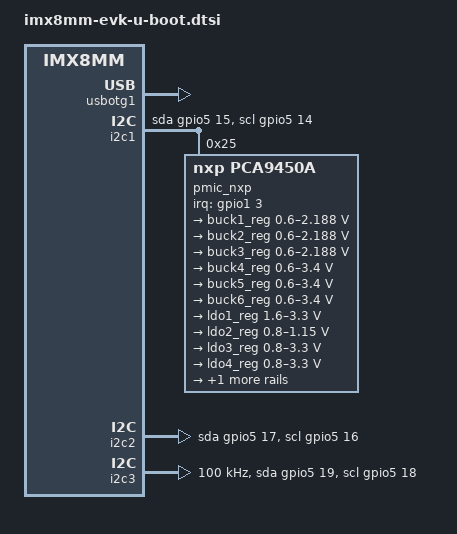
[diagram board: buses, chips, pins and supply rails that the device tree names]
// SPDX-License-Identifier: GPL-2.0+
/*
 * Copyright 2019, 2021 NXP
 */

#include "imx8mm-u-boot.dtsi"

/ {
	wdt-reboot {
		compatible = "wdt-reboot";
		wdt = <&wdog1>;
		bootph-pre-ram;
	};
};

&aips4 {
	bootph-pre-ram;
};

&reg_usdhc2_vmmc {
	u-boot,off-on-delay-us = <20000>;
	bootph-pre-ram;
};

&pinctrl_reg_usdhc2_vmmc {
	bootph-pre-ram;
};

&pinctrl_uart2 {
	bootph-pre-ram;
};

&pinctrl_usdhc2_gpio {
	bootph-pre-ram;
};

&pinctrl_usdhc2 {
	bootph-pre-ram;
};

&pinctrl_usdhc3 {
	bootph-pre-ram;
};

&gpio1 {
	bootph-pre-ram;
};

&gpio2 {
	bootph-pre-ram;
};

&gpio3 {
	bootph-pre-ram;
};

&gpio4 {
	bootph-pre-ram;
};

&gpio5 {
	bootph-pre-ram;
};

&uart2 {
	bootph-pre-ram;
};

&usbmisc1 {
	bootph-pre-ram;
};

&usbphynop1 {
	bootph-pre-ram;
};

&usbotg1 {
	bootph-pre-ram;
};

&usdhc1 {
	bootph-pre-ram;
	assigned-clocks = <&clk IMX8MM_CLK_USDHC1>;
	assigned-clock-rates = <400000000>;
	assigned-clock-parents = <&clk IMX8MM_SYS_PLL1_400M>;
};

&usdhc2 {
	bootph-pre-ram;
	sd-uhs-sdr104;
	sd-uhs-ddr50;
	assigned-clocks = <&clk IMX8MM_CLK_USDHC2>;
	assigned-clock-rates = <400000000>;
	assigned-clock-parents = <&clk IMX8MM_SYS_PLL1_400M>;
	fsl,signal-voltage-switch-extra-delay-ms = <8>;
};

&usdhc3 {
	bootph-pre-ram;
	mmc-hs400-1_8v;
	mmc-hs400-enhanced-strobe;
	assigned-clocks = <&clk IMX8MM_CLK_USDHC3>;
	assigned-clock-rates = <400000000>;
	assigned-clock-parents = <&clk IMX8MM_SYS_PLL1_400M>;
};

&i2c1 {
	pinctrl-names = "default", "gpio";
	pinctrl-1 = <&pinctrl_i2c1_gpio>;
	scl-gpios = <&gpio5 14 GPIO_ACTIVE_HIGH>;
	sda-gpios = <&gpio5 15 GPIO_ACTIVE_HIGH>;
	bootph-pre-ram;

	pmic_nxp: pca9450@25 {
		compatible = "nxp,pca9450a";
		reg = <0x25>;
		pinctrl-0 = <&pinctrl_pmic>;
		pinctrl-names = "default";
		interrupt-parent = <&gpio1>;
		interrupts = <3 IRQ_TYPE_LEVEL_LOW>;
		bootph-pre-ram;

		regulators {
			bootph-pre-ram;

			buck1_reg: BUCK1 {
				regulator-name = "BUCK1";
				regulator-min-microvolt = <600000>;
				regulator-max-microvolt = <2187500>;
				regulator-boot-on;
				regulator-always-on;
				regulator-ramp-delay = <3125>;
				nxp,dvs-run-voltage = <850000>;
				nxp,dvs-standby-voltage = <800000>;
			};

			buck2_reg: BUCK2 {
				regulator-name = "BUCK2";
				regulator-min-microvolt = <600000>;
				regulator-max-microvolt = <2187500>;
				regulator-boot-on;
				regulator-always-on;
				regulator-ramp-delay = <3125>;
			};

			buck3_reg: BUCK3 {
				regulator-name = "BUCK3";
				regulator-min-microvolt = <600000>;
				regulator-max-microvolt = <2187500>;
				regulator-boot-on;
				regulator-always-on;
			};

			buck4_reg: BUCK4 {
				regulator-name = "BUCK4";
				regulator-min-microvolt = <600000>;
				regulator-max-microvolt = <3400000>;
				regulator-boot-on;
				regulator-always-on;
			};

			buck5_reg: BUCK5 {
				regulator-name = "BUCK5";
				regulator-min-microvolt = <600000>;
				regulator-max-microvolt = <3400000>;
				regulator-boot-on;
				regulator-always-on;
			};

			buck6_reg: BUCK6 {
				regulator-name = "BUCK6";
				regulator-min-microvolt = <600000>;
				regulator-max-microvolt = <3400000>;
				regulator-boot-on;
				regulator-always-on;
			};

			ldo1_reg: LDO1 {
				regulator-name = "LDO1";
				regulator-min-microvolt = <1600000>;
				regulator-max-microvolt = <3300000>;
				regulator-boot-on;
				regulator-always-on;
			};

			ldo2_reg: LDO2 {
				regulator-name = "LDO2";
				regulator-min-microvolt = <800000>;
				regulator-max-microvolt = <1150000>;
				regulator-boot-on;
				regulator-always-on;
			};

			ldo3_reg: LDO3 {
				regulator-name = "LDO3";
				regulator-min-microvolt = <800000>;
				regulator-max-microvolt = <3300000>;
				regulator-boot-on;
				regulator-always-on;
			};

			ldo4_reg: LDO4 {
				regulator-name = "LDO4";
				regulator-min-microvolt = <800000>;
				regulator-max-microvolt = <3300000>;
				regulator-boot-on;
				regulator-always-on;
			};

			ldo5_reg: LDO5 {
				regulator-name = "LDO5";
				regulator-min-microvolt = <1800000>;
				regulator-max-microvolt = <3300000>;
			};

		};
	};
};

&i2c2 {
	pinctrl-names = "default", "gpio";
	pinctrl-1 = <&pinctrl_i2c2_gpio>;
	scl-gpios = <&gpio5 16 GPIO_ACTIVE_HIGH>;
	sda-gpios = <&gpio5 17 GPIO_ACTIVE_HIGH>;
};

&i2c3 {
	clock-frequency = <100000>;
	pinctrl-names = "default", "gpio";
	pinctrl-1 = <&pinctrl_i2c3_gpio>;
	scl-gpios = <&gpio5 18 GPIO_ACTIVE_HIGH>;
	sda-gpios = <&gpio5 19 GPIO_ACTIVE_HIGH>;
};

/delete-node/ &{/soc@0/bus@30800000/i2c@30a20000/pmic@4b};

&pinctrl_i2c1 {
	bootph-pre-ram;
};

&pinctrl_pmic {
	bootph-pre-ram;
};

&pinctrl_wdog {
	bootph-pre-ram;
};

&ethphy0 {
	reset-deassert-us = <80000>;

	vddio0: vddio-regulator {
		regulator-name = "VDDIO";
		regulator-min-microvolt = <1800000>;
		regulator-max-microvolt = <1800000>;
	};
};

&wdog1 {
	bootph-pre-ram;
};

&usbotg1 {
	status = "okay";
	extcon = <&ptn5110>;
};

&iomuxc {
	pinctrl_i2c1_gpio: i2c1-gpiogrp {
		fsl,pins = <
			MX8MM_IOMUXC_I2C1_SCL_GPIO5_IO14        		0x1c3
			MX8MM_IOMUXC_I2C1_SDA_GPIO5_IO15        	0x1c3
		>;
	};

	pinctrl_i2c2_gpio: i2c2-gpiogrp {
		fsl,pins = <
			MX8MM_IOMUXC_I2C2_SCL_GPIO5_IO16        		0x1c3
			MX8MM_IOMUXC_I2C2_SDA_GPIO5_IO17        	0x1c3
		>;
	};

	pinctrl_i2c3_gpio: i2c3-gpiogrp {
		fsl,pins = <
			MX8MM_IOMUXC_I2C3_SCL_GPIO5_IO18        		0x1c3
			MX8MM_IOMUXC_I2C3_SDA_GPIO5_IO19        	0x1c3
		>;
	};
};
